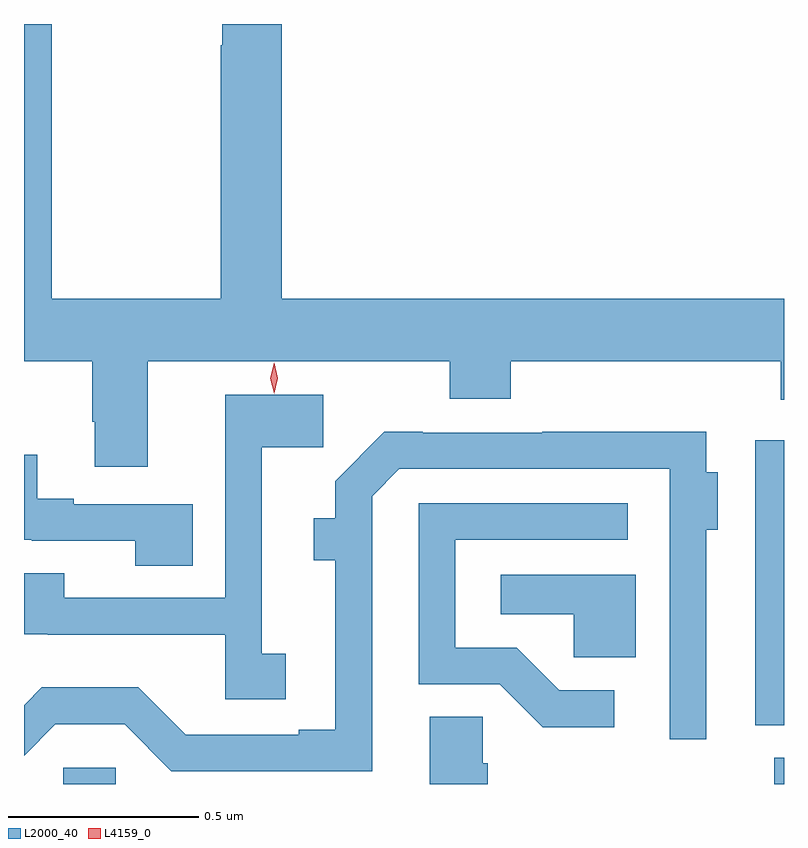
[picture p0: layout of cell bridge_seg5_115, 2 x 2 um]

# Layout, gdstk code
import gdstk
lib = gdstk.Library(unit=1e-6, precision=1e-09)
def R(c, l, rs):  # rectangles x0, y0, x1, y1
    for r in rs: c.add(gdstk.rectangle(r[:2], r[2:], *l))
def P(c, l, *ps):  # polygons
    for p in ps: c.add(gdstk.Polygon(p, *l))
L2000_40 = (2000, 40)
L4159_0 = (4159, 0)

bridge_seg5_115 = lib.new_cell('bridge_seg5_115')
R(bridge_seg5_115, L2000_40, [(383.58,862.307,383.718,862.35), (385.451,862.307,385.477,862.376), (385.401,862.461,385.477,863.211)])
P(bridge_seg5_115, L2000_40, [(383.803,863.42),(384.598,863.42),(384.598,863.321),(384.758,863.321),(384.758,863.42),(385.469,863.42),(385.469,863.318),(385.477,863.318),(385.477,863.584),(384.155,863.584),(384.155,864.307),(383.999,864.307),(383.999,864.251),(383.995,864.251),(383.995,863.584),(383.55,863.584),(383.55,864.307),(383.477,864.307),(383.477,863.42),(383.656,863.42),(383.656,863.26),(383.663,863.26),(383.663,863.142),(383.803,863.142)],
  [(384.166,862.65),(384.103,862.65),(384.103,863.193),(384.264,863.193),(384.264,863.332),(384.006,863.332),(384.006,862.797),(383.583,862.797),(383.583,862.862),(383.477,862.862),(383.477,862.701),(383.539,862.701),(383.539,862.7),(384.006,862.7),(384.006,862.53),(384.166,862.53)],
  [(384.393,863.064),(384.465,863.136),(385.176,863.136),(385.176,862.425),(385.272,862.425),(385.272,862.976),(385.303,862.976),(385.303,863.128),(385.272,863.128),(385.272,863.234),(384.841,863.234),(384.841,863.232),(384.526,863.232),(384.526,863.234),(384.425,863.234),(384.296,863.104),(384.296,863.006),(384.239,863.006),(384.239,862.896),(384.296,862.896),(384.296,862.45),(384.2,862.45),(384.2,862.437),(383.902,862.437),(383.778,862.561),(383.524,862.561),(383.477,862.514),(383.477,862.382),(383.559,862.464),(383.742,862.464),(383.865,862.341),(384.393,862.341)],
  [(383.921,863.043),(383.608,863.043),(383.608,863.058),(383.512,863.058),(383.512,863.173),(383.477,863.173),(383.477,862.95),(383.497,862.95),(383.497,862.947),(383.77,862.947),(383.77,862.882),(383.921,862.882)],
  [(385.03,862.554),(384.885,862.554),(384.774,862.665),(384.612,862.665),(384.612,862.95),(385.066,862.95),(385.066,863.046),(384.516,863.046),(384.516,862.569),(384.729,862.569),(384.842,862.457),(385.03,862.457)],
  [(385.087,862.858),(384.732,862.858),(384.732,862.754),(384.924,862.754),(384.924,862.64),(385.087,862.64)],
  [(384.698,862.361),(384.684,862.361),(384.684,862.484),(384.545,862.484),(384.545,862.307),(384.698,862.307)])
P(bridge_seg5_115, L4159_0, [(384.135,863.334),(384.135,863.335),(384.125,863.375),(384.135,863.415),(384.135,863.415),(384.135,863.415),(384.145,863.375),(384.135,863.335)])

lib.write_gds('bridge_seg5_115.gds')
